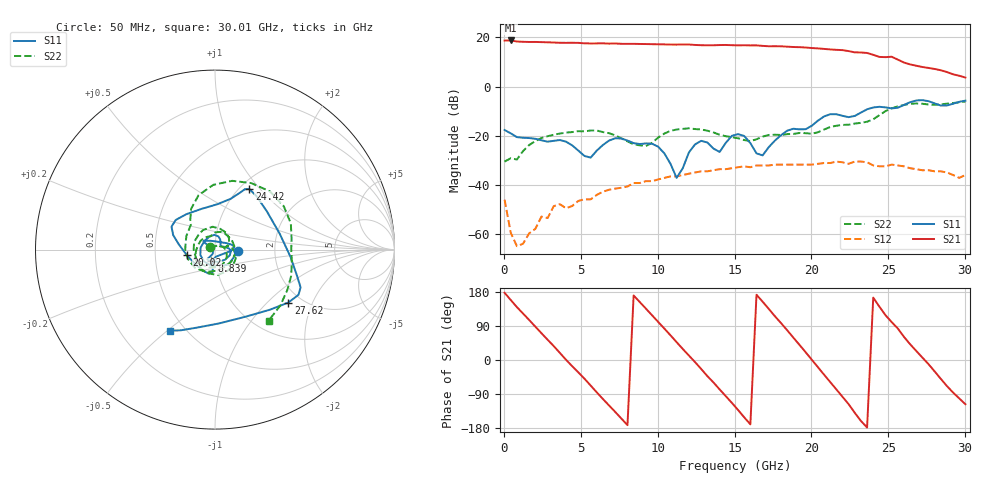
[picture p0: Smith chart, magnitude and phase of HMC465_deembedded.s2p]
!Hittite Microwave Corporation
!12 Elizabeth Drive
!Chelmsford, MA 01824
!Tel: 978-250-3343
!Fax: 978-250-3373
!Device: HMC465, DC-20 GHz, GaAs PHEMT MMIC Modulator Driver Amlifier Die
!Misc: Vdd = 8V, Vgg2 = 1.5V, Idd = 160 mA, Data includes (two) K connectors, Room
# MHZ S MA R 50
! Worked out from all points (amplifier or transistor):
!   76 points, 50 MHz to 30.01 GHz, reference 50 ohm
!   highest |S21| = 18.7 dB at 449.5 MHz (marker M1)
!   |S21| within 3 dB of that: start of sweep to 19.88 GHz
!   unconditionally stable (mu >= 1): start of sweep to end of sweep
!   at 4.844 GHz: K = 13.38, MAG = 17.8 dB, |S12| = -46.4 dB
!   at 15.23 GHz: K = 3.19, MAG = 16.8 dB, |S12| = -32.8 dB
!   at 30.01 GHz: K = 11.18, MAG = 6.3 dB, |S12| = -35.9 dB
!   S11 on the Smith chart (normalised r, x): 50 MHz: 1.30, -0.02; 8.839 GHz: 0.95, -0.12; 20.02 GHz: 0.73, -0.05; 24.42 GHz: 1.11, +0.88; 27.62 GHz: 1.71, -1.35; 30.01 GHz: 0.41, -0.51
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50  0.131 -3.2  8.565 177.3  0.005026 -149.4  0.03 154.7
449.5  0.112 -48.5  8.604 158.3  0.001077 -135.6  0.035 44.6
1648  0.09 -132.3  8.014 105.6  0.001051 -169.8  0.065 -7.0
2447  0.081 172.2  7.961 70.6  0.002294 103.2  0.09 -58.2
4045  0.076 75.8  7.705 0.5  0.003381 58.0  0.116 -155.1
5243.5  0.039 37.8  7.527 -49.4  0.005126 6.9  0.123 138.9
6841.5  0.08 3.4  7.426 -120.0  0.008038 -56.7  0.113 57.4
8839  0.068 -106.9  7.298 152.9  0.011 -141.3  0.064 13.2
10037.5  0.06 -128.2  7.202 100.4  0.013 164.5  0.092 8.2
11635.5  0.022 165.0  7.139 29.1  0.016 94.4  0.138 -61.1
12434.5  0.067 146.4  6.978 -5.6  0.018 55.2  0.137 -101.7
14032.5  0.047 67.1  6.942 -77.6  0.021 -11.4  0.105 -177.8
15231  0.108 7.2  6.841 -132.0  0.023 -65.5  0.089 132.2
16429.5  0.044 -40.2  6.832 172.2  0.025 -118.6  0.085 100.6
18027.5  0.103 -96.9  6.546 97.3  0.026 168.0  0.104 44.4
20025  0.16 -168.9  6.037 0.7  0.026 75.0  0.11 -61.4
22022.5  0.254 129.2  5.478 -97.2  0.029 -20.4  0.166 -179.5
23221  0.296 72.9  4.91 -160.9  0.03 -74.6  0.183 142.4
24419.5  0.388 60.5  3.987 140.8  0.024 -136.5  0.263 120.5
25218.5  0.359 36.3  4.021 100.1  0.026 -164.4  0.361 91.5
27615.5  0.504 -35.8  2.383 -11.0  0.02 88.3  0.431 8.2
30012.5  0.517 -119.1  1.52 -116.7  0.016 -13.4  0.496 -52.9
